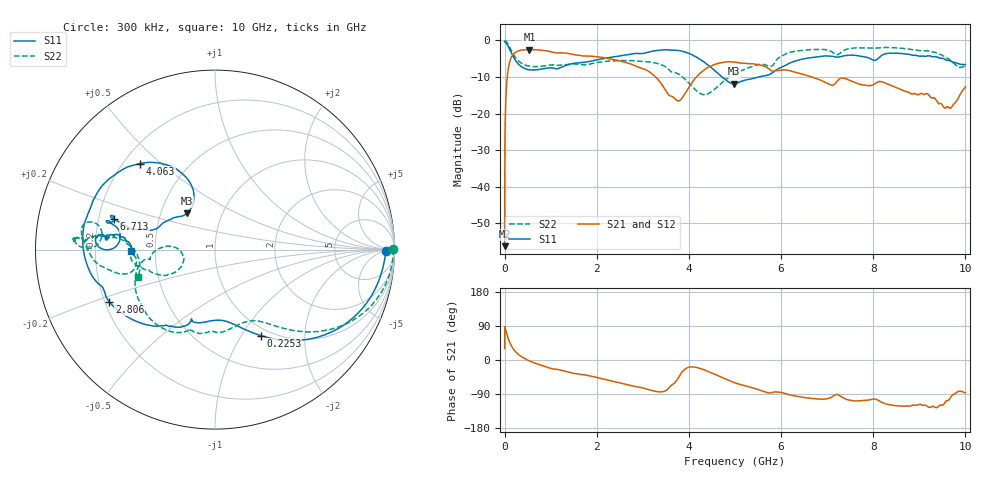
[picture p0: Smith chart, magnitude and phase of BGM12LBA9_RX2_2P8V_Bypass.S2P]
!Agilent Technologies,E5071C,MY46316587,B.13.01
!Date: Tue Sep 12 11:10:12 2017
!Data & Calibration Information:
!Freq	S11:SOLT2(ON)	S21:SOLT2(ON)	S12:SOLT2(ON)	S22:SOLT2(ON)
!PortZ  Port1:50+j0  Port2:50+j0
!Above PortZ is port z conversion or system Z0 setting when saving the data.
!When reading, reference impedance value at option line is always used.
# Hz S RI R 50
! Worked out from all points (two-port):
!   1601 points, 300 kHz to 10 GHz, reference 50 ohm
!   highest |S21| = -2.54 dB at 537.8 MHz (marker M1); lowest = -56.2 dB at 300 kHz (marker M2)
!   |S21| within 3 dB of the highest: 119.6 MHz to 2.472 GHz (2.353 GHz wide, 182 % of centre)
!   lowest |S11| = -11.8 dB at 4.975 GHz (marker M3), VSWR 1.69, Z = 33.9 + j14.6 ohm
!   |S11| at or under -10 dB: 4.718 GHz to 5.523 GHz (804.6 MHz wide, 15.7 % of centre)
!   |S22| runs from -15.0 to 0.0 dB; largest |S21 - S12| = 0.0022
!   S11 on the Smith chart (normalised r, x): 300 kHz: 40, -5; 225.3 MHz: 0.90, -1.22; 2.806 GHz: 0.22, -0.22; 4.063 GHz: 0.27, +0.43; 6.713 GHz: 0.27, +0.14; 10 GHz: 0.36, -0.01
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300000  0.9523 -0.00538  0.00134 0.000781  -3.85e-05 0.00247  0.9943 0.000701
5.654831e7  0.7997 -0.3511  0.1299 0.2804  0.1293 0.2807  0.8728 -0.3099
6.904794e7  0.7454 -0.4  0.1794 0.3163  0.179 0.3167  0.8253 -0.3541
1.252962e8  0.5082 -0.5015  0.3971 0.3682  0.3971 0.3687  0.6192 -0.4496
2.252932e8  0.255 -0.4791  0.6209 0.2722  0.6208 0.2723  0.3962 -0.442
5.377839e8  0.0356 -0.3941  0.7456 -0.0309  0.7456 -0.0306  0.1949 -0.3974
1.669e9  -0.259 -0.4257  0.4809 -0.3821  0.4815 -0.3821  -0.1379 -0.4457
2.806466e9  -0.5889 -0.2913  0.1618 -0.4272  0.1615 -0.4265  -0.376 -0.3673
3.3377e9  -0.7295 -0.0248  0.0308 -0.285  0.0306 -0.2854  -0.4451 -0.1749
3.762687e9  -0.6466 0.3311  0.0979 -0.1123  0.098 -0.1125  -0.3491 -0.0229
4.062678e9  -0.4171 0.4786  0.2494 -0.0814  0.25 -0.0813  -0.2362 0.0167
4.375169e9  -0.198 0.4359  0.363 -0.1954  0.3637 -0.1956  -0.1732 -0.0502
4.975151e9  -0.1575 0.2014  0.2595 -0.434  0.2596 -0.4341  -0.3207 -0.1377
5.00015e9  -0.1656 0.1952  0.25 -0.4373  0.2496 -0.4384  -0.3292 -0.1358
5.918872e9  -0.388 0.1109  0.0361 -0.3831  0.0356 -0.3828  -0.5393 -0.1331
6.66885e9  -0.558 0.1674  -0.0622 -0.3095  -0.0623 -0.3092  -0.7418 0.0839
6.712599e9  -0.5625 0.1697  -0.0644 -0.3024  -0.0643 -0.3023  -0.7432 0.0926
7.206334e9  -0.5637 0.1707  -0.00494 -0.2703  -0.00489 -0.2701  -0.6294 0.0849
8.025059e9  -0.5278 0.0703  -0.0574 -0.2461  -0.0577 -0.2456  -0.7796 0.0542
8.33755e9  -0.664 0.0405  -0.1159 -0.2201  -0.1157 -0.22  -0.7941 0.0577
9.65001e9  -0.5245 0.071  -0.029 -0.1158  -0.0302 -0.1156  -0.5446 0.0634
1e10  -0.4667 -0.00697  0.0122 -0.2313  0.012 -0.2304  -0.4293 -0.152
